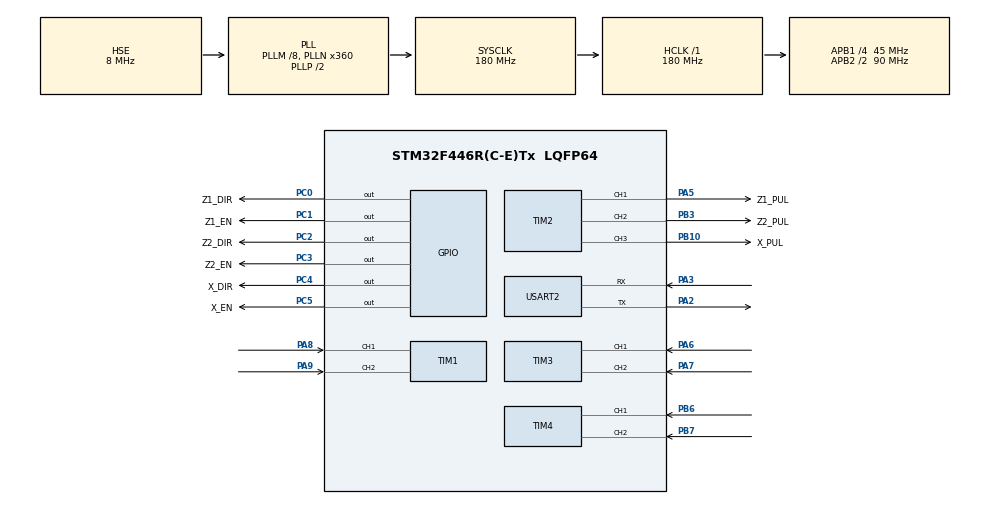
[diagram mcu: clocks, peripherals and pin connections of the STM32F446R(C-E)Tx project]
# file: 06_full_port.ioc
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Dma.Request0=USART2_RX
Dma.Request1=USART2_TX
Dma.USART2_RX.0.Direction=DMA_PERIPH_TO_MEMORY
Dma.USART2_RX.0.FIFOMode=DMA_FIFOMODE_DISABLE
Dma.USART2_RX.0.Instance=DMA1_Stream5
Dma.USART2_RX.0.MemDataAlignment=DMA_MDATAALIGN_BYTE
Dma.USART2_RX.0.MemInc=DMA_MINC_ENABLE
Dma.USART2_RX.0.Mode=DMA_CIRCULAR
Dma.USART2_RX.0.PeriphDataAlignment=DMA_PDATAALIGN_BYTE
Dma.USART2_RX.0.PeriphInc=DMA_PINC_DISABLE
Dma.USART2_RX.0.Priority=DMA_PRIORITY_LOW
Dma.USART2_TX.1.Direction=DMA_MEMORY_TO_PERIPH
Dma.USART2_TX.1.FIFOMode=DMA_FIFOMODE_DISABLE
Dma.USART2_TX.1.Instance=DMA1_Stream6
Dma.USART2_TX.1.MemDataAlignment=DMA_MDATAALIGN_BYTE
Dma.USART2_TX.1.MemInc=DMA_MINC_ENABLE
Dma.USART2_TX.1.Mode=DMA_NORMAL
Dma.USART2_TX.1.PeriphDataAlignment=DMA_PDATAALIGN_BYTE
Dma.USART2_TX.1.PeriphInc=DMA_PINC_DISABLE
Dma.USART2_TX.1.Priority=DMA_PRIORITY_LOW
Mcu.Family=STM32F4
Mcu.Name=STM32F446R(C-E)Tx
Mcu.Package=LQFP64
NVIC.DMA1_Stream5_IRQn=true\:0\:0\:false\:false\:true\:false\:true\:true
NVIC.DMA1_Stream6_IRQn=true\:0\:0\:false\:false\:true\:false\:true\:true
NVIC.PriorityGroup=NVIC_PRIORITYGROUP_0
NVIC.TIM2_IRQn=true\:0\:0\:false\:false\:true\:true\:true\:true
NVIC.TIM6_DAC_IRQn=true\:0\:0\:false\:false\:true\:true\:true\:true
NVIC.USART2_IRQn=true\:0\:0\:false\:false\:true\:true\:true\:true
PA2.Mode=Asynchronous
PA2.Signal=USART2_TX
PA3.Mode=Asynchronous
PA3.Signal=USART2_RX
PA5.GPIO_Label=Z1_PUL
PA5.Signal=S_TIM2_CH1_ETR
PA6.Signal=S_TIM3_CH1
PA7.Signal=S_TIM3_CH2
PA8.Signal=S_TIM1_CH1
PA9.Signal=S_TIM1_CH2
PB10.GPIO_Label=X_PUL
PB10.Signal=S_TIM2_CH3
PB3.GPIO_Label=Z2_PUL
PB3.Signal=S_TIM2_CH2
PB6.Signal=S_TIM4_CH1
PB7.Signal=S_TIM4_CH2
PC0.GPIO_Label=Z1_DIR
PC0.Signal=GPIO_Output
PC1.GPIO_Label=Z1_EN
PC1.PinState=GPIO_PIN_SET
PC1.Signal=GPIO_Output
PC2.GPIO_Label=Z2_DIR
PC2.Signal=GPIO_Output
PC3.GPIO_Label=Z2_EN
PC3.PinState=GPIO_PIN_SET
PC3.Signal=GPIO_Output
PC4.GPIO_Label=X_DIR
PC4.Signal=GPIO_Output
PC5.GPIO_Label=X_EN
PC5.PinState=GPIO_PIN_SET
PC5.Signal=GPIO_Output
PH0-OSC_IN.Mode=HSE-External-Clock-Source
PH0-OSC_IN.Signal=RCC_OSC_IN
PH1-OSC_OUT.Mode=HSE-External-Clock-Source
PH1-OSC_OUT.Signal=RCC_OSC_OUT
ProjectManager.HeapSize=0x200
ProjectManager.StackSize=0x400
ProjectManager.TargetToolchain=CMake
RCC.AHBFreq_Value=180000000
RCC.APB1CLKDivider=RCC_HCLK_DIV4
RCC.APB1Freq_Value=45000000
RCC.APB1TimFreq_Value=90000000
RCC.APB2CLKDivider=RCC_HCLK_DIV2
RCC.APB2Freq_Value=90000000
RCC.APB2TimFreq_Value=180000000
RCC.CortexFreq_Value=180000000
RCC.FLatency-AdvancedSettings=FLASH_LATENCY_5
RCC.HCLKFreq_Value=180000000
RCC.HSE_VALUE=8000000
RCC.HSI_VALUE=16000000
RCC.LSE_VALUE=32768
RCC.PLLM=8
RCC.PLLN=360
RCC.PLLSourceVirtual=RCC_PLLSOURCE_HSE
RCC.SYSCLKFreq_VALUE=180000000
RCC.SYSCLKSource=RCC_SYSCLKSOURCE_PLLCLK
RCC.USBFreq_Value=180000000
RCC.VCOOutputFreq_Value=360000000
SH.S_TIM1_CH1.0=TIM1_CH1,Encoder_Interface
SH.S_TIM1_CH2.0=TIM1_CH2,Encoder_Interface
SH.S_TIM2_CH1_ETR.0=TIM2_CH1,Output Compare1 CH1
SH.S_TIM2_CH2.0=TIM2_CH2,Output Compare2 CH2
SH.S_TIM2_CH3.0=TIM2_CH3,Output Compare3 CH3
SH.S_TIM3_CH1.0=TIM3_CH1,Encoder_Interface
SH.S_TIM3_CH2.0=TIM3_CH2,Encoder_Interface
SH.S_TIM4_CH1.0=TIM4_CH1,Encoder_Interface
SH.S_TIM4_CH2.0=TIM4_CH2,Encoder_Interface
TIM1.EncoderMode=TIM_ENCODERMODE_TI12
TIM2.Channel-Output\ Compare1\ CH1=TIM_CHANNEL_1
TIM2.Channel-Output\ Compare2\ CH2=TIM_CHANNEL_2
TIM2.Channel-Output\ Compare3\ CH3=TIM_CHANNEL_3
TIM2.OCMode_1=TIM_OCMODE_TOGGLE
TIM2.OCMode_2=TIM_OCMODE_TOGGLE
TIM2.OCMode_3=TIM_OCMODE_TOGGLE
TIM3.EncoderMode=TIM_ENCODERMODE_TI12
TIM4.EncoderMode=TIM_ENCODERMODE_TI12
TIM6.Period=99
TIM6.Prescaler=89
USART2.VirtualMode=VM_ASYNC
VP_TIM2_VS_ClockSourceINT.Mode=Internal
VP_TIM6_VS_ClockSourceINT.Mode=Enable_Timer
board=NUCLEO-F446RE

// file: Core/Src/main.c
/* USER CODE BEGIN Header */
/**
  ******************************************************************************
  * @file           : main.c
  * @brief          : Main program body
  ******************************************************************************
  * @attention
  *
  * Copyright (c) 2026 STMicroelectronics.
  * All rights reserved.
  *
  * This software is licensed under terms that can be found in the LICENSE file
  * in the root directory of this software component.
  * If no LICENSE file comes with this software, it is provided AS-IS.
  *
  ******************************************************************************
  */
/* USER CODE END Header */
#include "main.h"

/* USER CODE BEGIN Includes */
#include <string.h>
#include <stdlib.h>
#include <stdio.h>
#include <math.h>
#include <stdbool.h>
/* USER CODE END Includes */

TIM_HandleTypeDef htim1;
TIM_HandleTypeDef htim2;
TIM_HandleTypeDef htim3;
TIM_HandleTypeDef htim4;
TIM_HandleTypeDef htim6;

UART_HandleTypeDef huart2;
DMA_HandleTypeDef hdma_usart2_rx;
DMA_HandleTypeDef hdma_usart2_tx;

/* USER CODE BEGIN PV */
// ==================== DMA RX BUFFER ====================
#define RX_BUF_SIZE 128
uint8_t rxBuf[RX_BUF_SIZE];
uint32_t rxReadPos = 0;

// ==================== CONSTANTS ====================
#define STEPS_PER_MM     800
#define CPR              4000
#define STOP_DEADBAND    5.0f
#define MAX_SPEED        800.0f
#define ACCEL            2000.0f
#define DT               0.0001f

#define Kp               0.55f
#define Kd               0.14f
#define Kp_slave         0.7f

// ==================== MODE ====================
typedef enum { MODE_IDLE, MODE_X, MODE_Z } Mode;
volatile Mode currentMode = MODE_IDLE;

// ==================== Z AXIS ====================
volatile int32_t z1Enc = 0, z2Enc = 0;
uint16_t z1Last = 0, z2Last = 0;

float targetStepsZ   = 0.0f;
float z1CmdPos       = 0.0f, z2CmdPos = 0.0f;
float z1LastErr      = 0.0f, z2LastErr = 0.0f;
volatile bool runningZ         = false;
volatile bool justStartedMoveZ = false;
volatile int  settleGuardZ     = 0;

// ==================== X AXIS ====================
volatile int32_t xEnc = 0;
uint16_t xLast = 0;

float targetStepsX   = 0.0f;
float xCmdPos        = 0.0f;
float xLastErr       = 0.0f;
volatile bool runningX         = false;
volatile bool justStartedMoveX = false;
volatile int  settleGuardX     = 0;

// ==================== STEP GENERATION ====================
volatile uint32_t z1StepInterval = 0;
volatile uint32_t z2StepInterval = 0;
volatile uint32_t xStepInterval  = 0;

// ==================== QUEUE ====================
#define MAX_QUEUE 20
char cmdQueue[MAX_QUEUE][32];
int queueHead = 0, queueTail = 0;
char originalQueue[MAX_QUEUE][32];
int originalSize = 0;
volatile bool sequenceRunning  = false;
int sequenceRepeatLeft = 0;

// ==================== DEBUG ====================
volatile bool debugPrintZ = false;
volatile bool debugPrintX = false;

typedef struct { float actual, target, err, vel; } DbgX;
typedef struct { float z1, z2, target, err1, followErr, vel1, vel2; } DbgZ;

volatile DbgX dbgX;
volatile DbgZ dbgZ;
/* USER CODE END PV */

void SystemClock_Config(void);
static void MX_GPIO_Init(void);
static void MX_DMA_Init(void);
static void MX_USART2_UART_Init(void);
static void MX_TIM1_Init(void);
static void MX_TIM2_Init(void);
static void MX_TIM3_Init(void);
static void MX_TIM4_Init(void);
static void MX_TIM6_Init(void);
/* USER CODE BEGIN PFP */
void enableZ(bool en);
void enableX(bool en);
void updateEncoders(void);
void runZ_ISR(void);
void runX_ISR(void);
void setStepVelocity(TIM_HandleTypeDef *htim, uint32_t channel,
                     GPIO_TypeDef *dirPort, uint16_t dirPin,
                     float vel, volatile uint32_t *interval);
void handleSerial(void);
void executeCommand(const char *cmd);
void runSequence(void);
bool queueEmpty(void);
bool queueFull(void);
void enqueue(const char *cmd);
const char *dequeue(void);
void reloadQueue(void);
void uartPrint(const char *s);
/* USER CODE END PFP */

int main(void)
{

  /* MCU Configuration--------------------------------------------------------*/

  /* Reset of all peripherals, Initializes the Flash interface and the Systick. */
  HAL_Init();

  /* Configure the system clock */
  SystemClock_Config();

  /* Initialize all configured peripherals */
  MX_GPIO_Init();
  MX_DMA_Init();
  MX_USART2_UART_Init();
  MX_TIM1_Init();
  MX_TIM2_Init();
  MX_TIM3_Init();
  MX_TIM4_Init();
  MX_TIM6_Init();
  /* USER CODE BEGIN 2 */
  // Start encoders
  HAL_TIM_Encoder_Start(&htim1, TIM_CHANNEL_ALL);  // Z1
  HAL_TIM_Encoder_Start(&htim3, TIM_CHANNEL_ALL);  // Z2
  HAL_TIM_Encoder_Start(&htim4, TIM_CHANNEL_ALL);  // X

  // Start step output compare with interrupt
  HAL_TIM_OC_Start_IT(&htim2, TIM_CHANNEL_1);  // Z1 STEP
  HAL_TIM_OC_Start_IT(&htim2, TIM_CHANNEL_2);  // Z2 STEP
  HAL_TIM_OC_Start_IT(&htim2, TIM_CHANNEL_3);  // X  STEP

  // Start control loop timer with interrupt
  HAL_TIM_Base_Start_IT(&htim6);

  // Arm UART DMA receive
  HAL_UART_Receive_DMA(&huart2, rxBuf, RX_BUF_SIZE);
  /* USER CODE END 2 */

  /* Infinite loop */
  while (1)
  {

    /* USER CODE BEGIN 3 */
    handleSerial();
    runSequence();

    if (debugPrintZ)
    {
        debugPrintZ = false;
        char buf[120];
        snprintf(buf, sizeof(buf),
            "[Z] z1:%.2f z2:%.2f tgt:%.2f err:%.2f fErr:%.2f v1:%.2f v2:%.2f skew:%.4f\r\n",
            (double)dbgZ.z1, (double)dbgZ.z2, (double)dbgZ.target,
            (double)dbgZ.err1, (double)dbgZ.followErr,
            (double)dbgZ.vel1, (double)dbgZ.vel2,
            (double)((dbgZ.z1 - dbgZ.z2) / STEPS_PER_MM));
        uartPrint(buf);
    }

    if (debugPrintX)
    {
        debugPrintX = false;
        char buf[80];
        snprintf(buf, sizeof(buf),
            "[X] pos:%.2f tgt:%.2f err:%.2f vel:%.2f\r\n",
            (double)dbgX.actual, (double)dbgX.target,
            (double)dbgX.err,    (double)dbgX.vel);
        uartPrint(buf);
    }
  }
  /* USER CODE END 3 */
}

void SystemClock_Config(void)
{
  RCC_OscInitTypeDef RCC_OscInitStruct = {0};
  RCC_ClkInitTypeDef RCC_ClkInitStruct = {0};

  /** Configure the main internal regulator output voltage
  */
  __HAL_RCC_PWR_CLK_ENABLE();
  __HAL_PWR_VOLTAGESCALING_CONFIG(PWR_REGULATOR_VOLTAGE_SCALE1);

  /** Initializes the RCC Oscillators according to the specified parameters
  * in the RCC_OscInitTypeDef structure.
  */
  RCC_OscInitStruct.OscillatorType = RCC_OSCILLATORTYPE_HSE;
  RCC_OscInitStruct.HSEState = RCC_HSE_BYPASS;
  RCC_OscInitStruct.PLL.PLLState = RCC_PLL_ON;
  RCC_OscInitStruct.PLL.PLLSource = RCC_PLLSOURCE_HSE;
  RCC_OscInitStruct.PLL.PLLM = 8;
  RCC_OscInitStruct.PLL.PLLN = 360;
  RCC_OscInitStruct.PLL.PLLP = RCC_PLLP_DIV2;
  RCC_OscInitStruct.PLL.PLLQ = 2;
  RCC_OscInitStruct.PLL.PLLR = 2;
  if (HAL_RCC_OscConfig(&RCC_OscInitStruct) != HAL_OK)
  {
    Error_Handler();
  }

  /** Activate the Over-Drive mode
  */
  if (HAL_PWREx_EnableOverDrive() != HAL_OK)
  {
    Error_Handler();
  }

  /** Initializes the CPU, AHB and APB buses clocks
  */
  RCC_ClkInitStruct.ClockType = RCC_CLOCKTYPE_HCLK|RCC_CLOCKTYPE_SYSCLK
                              |RCC_CLOCKTYPE_PCLK1|RCC_CLOCKTYPE_PCLK2;
  RCC_ClkInitStruct.SYSCLKSource = RCC_SYSCLKSOURCE_PLLCLK;
  RCC_ClkInitStruct.AHBCLKDivider = RCC_SYSCLK_DIV1;
  RCC_ClkInitStruct.APB1CLKDivider = RCC_HCLK_DIV4;
  RCC_ClkInitStruct.APB2CLKDivider = RCC_HCLK_DIV2;

  if (HAL_RCC_ClockConfig(&RCC_ClkInitStruct, FLASH_LATENCY_5) != HAL_OK)
  {
    Error_Handler();
  }
}

static void MX_TIM1_Init(void)
{

  TIM_Encoder_InitTypeDef sConfig = {0};
  TIM_MasterConfigTypeDef sMasterConfig = {0};

  htim1.Instance = TIM1;
  htim1.Init.Prescaler = 0;
  htim1.Init.CounterMode = TIM_COUNTERMODE_UP;
  htim1.Init.Period = 65535;
  htim1.Init.ClockDivision = TIM_CLOCKDIVISION_DIV1;
  htim1.Init.RepetitionCounter = 0;
  htim1.Init.AutoReloadPreload = TIM_AUTORELOAD_PRELOAD_DISABLE;
  sConfig.EncoderMode = TIM_ENCODERMODE_TI12;
  sConfig.IC1Polarity = TIM_ICPOLARITY_RISING;
  sConfig.IC1Selection = TIM_ICSELECTION_DIRECTTI;
  sConfig.IC1Prescaler = TIM_ICPSC_DIV1;
  sConfig.IC1Filter = 0;
  sConfig.IC2Polarity = TIM_ICPOLARITY_RISING;
  sConfig.IC2Selection = TIM_ICSELECTION_DIRECTTI;
  sConfig.IC2Prescaler = TIM_ICPSC_DIV1;
  sConfig.IC2Filter = 0;
  if (HAL_TIM_Encoder_Init(&htim1, &sConfig) != HAL_OK)
  {
    Error_Handler();
  }
  sMasterConfig.MasterOutputTrigger = TIM_TRGO_RESET;
  sMasterConfig.MasterSlaveMode = TIM_MASTERSLAVEMODE_DISABLE;
  if (HAL_TIMEx_MasterConfigSynchronization(&htim1, &sMasterConfig) != HAL_OK)
  {
    Error_Handler();
  }

}

static void MX_TIM2_Init(void)
{

  TIM_ClockConfigTypeDef sClockSourceConfig = {0};
  TIM_MasterConfigTypeDef sMasterConfig = {0};
  TIM_OC_InitTypeDef sConfigOC = {0};

  htim2.Instance = TIM2;
  htim2.Init.Prescaler = 0;
  htim2.Init.CounterMode = TIM_COUNTERMODE_UP;
  htim2.Init.Period = 4294967295;
  htim2.Init.ClockDivision = TIM_CLOCKDIVISION_DIV1;
  htim2.Init.AutoReloadPreload = TIM_AUTORELOAD_PRELOAD_DISABLE;
  if (HAL_TIM_Base_Init(&htim2) != HAL_OK)
  {
    Error_Handler();
  }
  sClockSourceConfig.ClockSource = TIM_CLOCKSOURCE_INTERNAL;
  if (HAL_TIM_ConfigClockSource(&htim2, &sClockSourceConfig) != HAL_OK)
  {
    Error_Handler();
  }
  if (HAL_TIM_OC_Init(&htim2) != HAL_OK)
  {
    Error_Handler();
  }
  sMasterConfig.MasterOutputTrigger = TIM_TRGO_RESET;
  sMasterConfig.MasterSlaveMode = TIM_MASTERSLAVEMODE_DISABLE;
  if (HAL_TIMEx_MasterConfigSynchronization(&htim2, &sMasterConfig) != HAL_OK)
  {
    Error_Handler();
  }
  sConfigOC.OCMode = TIM_OCMODE_TOGGLE;
  sConfigOC.Pulse = 0;
  sConfigOC.OCPolarity = TIM_OCPOLARITY_HIGH;
  sConfigOC.OCFastMode = TIM_OCFAST_DISABLE;
  if (HAL_TIM_OC_ConfigChannel(&htim2, &sConfigOC, TIM_CHANNEL_1) != HAL_OK)
  {
    Error_Handler();
  }
  if (HAL_TIM_OC_ConfigChannel(&htim2, &sConfigOC, TIM_CHANNEL_2) != HAL_OK)
  {
    Error_Handler();
  }
  if (HAL_TIM_OC_ConfigChannel(&htim2, &sConfigOC, TIM_CHANNEL_3) != HAL_OK)
  {
    Error_Handler();
  }
  HAL_TIM_MspPostInit(&htim2);

}

static void MX_TIM3_Init(void)
{

  TIM_Encoder_InitTypeDef sConfig = {0};
  TIM_MasterConfigTypeDef sMasterConfig = {0};

  htim3.Instance = TIM3;
  htim3.Init.Prescaler = 0;
  htim3.Init.CounterMode = TIM_COUNTERMODE_UP;
  htim3.Init.Period = 65535;
  htim3.Init.ClockDivision = TIM_CLOCKDIVISION_DIV1;
  htim3.Init.AutoReloadPreload = TIM_AUTORELOAD_PRELOAD_DISABLE;
  sConfig.EncoderMode = TIM_ENCODERMODE_TI12;
  sConfig.IC1Polarity = TIM_ICPOLARITY_RISING;
  sConfig.IC1Selection = TIM_ICSELECTION_DIRECTTI;
  sConfig.IC1Prescaler = TIM_ICPSC_DIV1;
  sConfig.IC1Filter = 0;
  sConfig.IC2Polarity = TIM_ICPOLARITY_RISING;
  sConfig.IC2Selection = TIM_ICSELECTION_DIRECTTI;
  sConfig.IC2Prescaler = TIM_ICPSC_DIV1;
  sConfig.IC2Filter = 0;
  if (HAL_TIM_Encoder_Init(&htim3, &sConfig) != HAL_OK)
  {
    Error_Handler();
  }
  sMasterConfig.MasterOutputTrigger = TIM_TRGO_RESET;
  sMasterConfig.MasterSlaveMode = TIM_MASTERSLAVEMODE_DISABLE;
  if (HAL_TIMEx_MasterConfigSynchronization(&htim3, &sMasterConfig) != HAL_OK)
  {
    Error_Handler();
  }

}

static void MX_TIM4_Init(void)
{

  TIM_Encoder_InitTypeDef sConfig = {0};
  TIM_MasterConfigTypeDef sMasterConfig = {0};

  htim4.Instance = TIM4;
  htim4.Init.Prescaler = 0;
  htim4.Init.CounterMode = TIM_COUNTERMODE_UP;
  htim4.Init.Period = 65535;
  htim4.Init.ClockDivision = TIM_CLOCKDIVISION_DIV1;
  htim4.Init.AutoReloadPreload = TIM_AUTORELOAD_PRELOAD_DISABLE;
  sConfig.EncoderMode = TIM_ENCODERMODE_TI12;
  sConfig.IC1Polarity = TIM_ICPOLARITY_RISING;
  sConfig.IC1Selection = TIM_ICSELECTION_DIRECTTI;
  sConfig.IC1Prescaler = TIM_ICPSC_DIV1;
  sConfig.IC1Filter = 0;
  sConfig.IC2Polarity = TIM_ICPOLARITY_RISING;
  sConfig.IC2Selection = TIM_ICSELECTION_DIRECTTI;
  sConfig.IC2Prescaler = TIM_ICPSC_DIV1;
  sConfig.IC2Filter = 0;
  if (HAL_TIM_Encoder_Init(&htim4, &sConfig) != HAL_OK)
  {
    Error_Handler();
  }
  sMasterConfig.MasterOutputTrigger = TIM_TRGO_RESET;
  sMasterConfig.MasterSlaveMode = TIM_MASTERSLAVEMODE_DISABLE;
  if (HAL_TIMEx_MasterConfigSynchronization(&htim4, &sMasterConfig) != HAL_OK)
  {
    Error_Handler();
  }

}

static void MX_TIM6_Init(void)
{

  TIM_MasterConfigTypeDef sMasterConfig = {0};

  htim6.Instance = TIM6;
  htim6.Init.Prescaler = 89;
  htim6.Init.CounterMode = TIM_COUNTERMODE_UP;
  htim6.Init.Period = 99;
  htim6.Init.AutoReloadPreload = TIM_AUTORELOAD_PRELOAD_DISABLE;
  if (HAL_TIM_Base_Init(&htim6) != HAL_OK)
  {
    Error_Handler();
  }
  sMasterConfig.MasterOutputTrigger = TIM_TRGO_RESET;
  sMasterConfig.MasterSlaveMode = TIM_MASTERSLAVEMODE_DISABLE;
  if (HAL_TIMEx_MasterConfigSynchronization(&htim6, &sMasterConfig) != HAL_OK)
  {
    Error_Handler();
  }

}

static void MX_USART2_UART_Init(void)
{

  huart2.Instance = USART2;
  huart2.Init.BaudRate = 115200;
  huart2.Init.WordLength = UART_WORDLENGTH_8B;
  huart2.Init.StopBits = UART_STOPBITS_1;
  huart2.Init.Parity = UART_PARITY_NONE;
  huart2.Init.Mode = UART_MODE_TX_RX;
  huart2.Init.HwFlowCtl = UART_HWCONTROL_NONE;
  huart2.Init.OverSampling = UART_OVERSAMPLING_16;
  if (HAL_UART_Init(&huart2) != HAL_OK)
  {
    Error_Handler();
  }

}

static void MX_DMA_Init(void)
{

  /* DMA controller clock enable */
  __HAL_RCC_DMA1_CLK_ENABLE();

  /* DMA interrupt init */
  /* DMA1_Stream5_IRQn interrupt configuration */
  HAL_NVIC_SetPriority(DMA1_Stream5_IRQn, 0, 0);
  HAL_NVIC_EnableIRQ(DMA1_Stream5_IRQn);
  /* DMA1_Stream6_IRQn interrupt configuration */
  HAL_NVIC_SetPriority(DMA1_Stream6_IRQn, 0, 0);
  HAL_NVIC_EnableIRQ(DMA1_Stream6_IRQn);

}

static void MX_GPIO_Init(void)
{
  GPIO_InitTypeDef GPIO_InitStruct = {0};

  /* GPIO Ports Clock Enable */
  __HAL_RCC_GPIOH_CLK_ENABLE();
  __HAL_RCC_GPIOC_CLK_ENABLE();
  __HAL_RCC_GPIOA_CLK_ENABLE();
  __HAL_RCC_GPIOB_CLK_ENABLE();

  /*Configure GPIO pin Output Level */
  HAL_GPIO_WritePin(GPIOC, Z1_DIR_Pin|Z2_DIR_Pin|X_DIR_Pin, GPIO_PIN_RESET);

  /*Configure GPIO pin Output Level */
  HAL_GPIO_WritePin(GPIOC, Z1_EN_Pin|Z2_EN_Pin|X_EN_Pin, GPIO_PIN_SET);

  /*Configure GPIO pins : Z1_DIR_Pin Z1_EN_Pin Z2_DIR_Pin Z2_EN_Pin
                           X_DIR_Pin X_EN_Pin */
  GPIO_InitStruct.Pin = Z1_DIR_Pin|Z1_EN_Pin|Z2_DIR_Pin|Z2_EN_Pin
                          |X_DIR_Pin|X_EN_Pin;
  GPIO_InitStruct.Mode = GPIO_MODE_OUTPUT_PP;
  GPIO_InitStruct.Pull = GPIO_NOPULL;
  GPIO_InitStruct.Speed = GPIO_SPEED_FREQ_LOW;
  HAL_GPIO_Init(GPIOC, &GPIO_InitStruct);

}

/* USER CODE BEGIN 4 */
void uartPrint(const char *s)
{
    HAL_UART_Transmit(&huart2, (uint8_t*)"\r\n", 2, 10);
    HAL_UART_Transmit(&huart2, (uint8_t*)s, strlen(s), 10);
}

void enableZ(bool en)
{
    HAL_GPIO_WritePin(Z1_EN_GPIO_Port, Z1_EN_Pin,
                      en ? GPIO_PIN_RESET : GPIO_PIN_SET);
    HAL_GPIO_WritePin(Z2_EN_GPIO_Port, Z2_EN_Pin,
                      en ? GPIO_PIN_RESET : GPIO_PIN_SET);
}

void enableX(bool en)
{
    HAL_GPIO_WritePin(X_EN_GPIO_Port, X_EN_Pin,
                      en ? GPIO_PIN_RESET : GPIO_PIN_SET);
}

void updateEncoders(void)
{
    uint16_t c1 = (uint16_t)__HAL_TIM_GET_COUNTER(&htim1);
    uint16_t c2 = (uint16_t)__HAL_TIM_GET_COUNTER(&htim3);
    uint16_t cx = (uint16_t)__HAL_TIM_GET_COUNTER(&htim4);

    int32_t d1 = (int32_t)(int16_t)(c1 - z1Last);
    int32_t d2 = (int32_t)(int16_t)(c2 - z2Last);
    int32_t dx = (int32_t)(int16_t)(cx - xLast);

    if (d1 > -1000 && d1 < 1000) z1Enc += d1;
    if (d2 > -1000 && d2 < 1000) z2Enc += d2;
    if (dx > -1000 && dx < 1000) xEnc  += dx;

    z1Last = c1;
    z2Last = c2;
    xLast  = cx;
}

void setStepVelocity(TIM_HandleTypeDef *htim, uint32_t channel,
                     GPIO_TypeDef *dirPort, uint16_t dirPin,
                     float vel, volatile uint32_t *interval)
{
    if (vel >= 0)
        HAL_GPIO_WritePin(dirPort, dirPin, GPIO_PIN_SET);
    else
        HAL_GPIO_WritePin(dirPort, dirPin, GPIO_PIN_RESET);

    float absVel = vel < 0 ? -vel : vel;

    if (absVel < 1.0f)
    {
        *interval = 0xFFFFFFFF;
        return;
    }

    uint32_t ticks = (uint32_t)(90000000.0f / absVel);
    *interval = ticks;

    uint32_t current = __HAL_TIM_GET_COMPARE(htim, channel);
    __HAL_TIM_SET_COMPARE(htim, channel, current + ticks);
}

void runZ_ISR(void)
{
    if (!runningZ || currentMode != MODE_Z) return;

    const float stepPerEnc = (float)STEPS_PER_MM / (float)CPR;

    float z1Actual = z1Enc * stepPerEnc;
    float z2Actual = z2Enc * stepPerEnc;
    float err1     = targetStepsZ - z1Actual;

    float vff = sqrtf(2.0f * ACCEL * (err1 < 0 ? -err1 : err1));
    if (err1 < 0) vff = -vff;

    float d1  = (err1 - z1LastErr) / DT;
    z1LastErr = err1;

    float vel1 = vff + Kp * err1 + Kd * d1;
    if (vel1 >  MAX_SPEED) vel1 =  MAX_SPEED;
    if (vel1 < -MAX_SPEED) vel1 = -MAX_SPEED;

    float followErr = z1Actual - z2Actual;
    float d2        = (followErr - z2LastErr) / DT;
    z2LastErr       = followErr;

    float vel2 = vel1 + Kp_slave * followErr + Kd * d2;
    if (vel2 >  MAX_SPEED) vel2 =  MAX_SPEED;
    if (vel2 < -MAX_SPEED) vel2 = -MAX_SPEED;

    z1CmdPos += vel1 * DT;
    z2CmdPos += vel2 * DT;

    setStepVelocity(&htim2, TIM_CHANNEL_1,
                    Z1_DIR_GPIO_Port, Z1_DIR_Pin, vel1, &z1StepInterval);
    setStepVelocity(&htim2, TIM_CHANNEL_2,
                    Z2_DIR_GPIO_Port, Z2_DIR_Pin, vel2, &z2StepInterval);

    static uint32_t dbgCnt = 0;
    if (++dbgCnt >= 1000) {
        dbgCnt = 0;
        dbgZ.z1 = z1Actual; dbgZ.z2 = z2Actual;
        dbgZ.target = targetStepsZ;
        dbgZ.err1 = err1; dbgZ.followErr = followErr;
        dbgZ.vel1 = vel1; dbgZ.vel2 = vel2;
        debugPrintZ = true;
    }

    if (justStartedMoveZ) {
        if (++settleGuardZ >= 100) justStartedMoveZ = false;
        return;
    }

    if (err1 > -STOP_DEADBAND && err1 < STOP_DEADBAND &&
        followErr > -STOP_DEADBAND && followErr < STOP_DEADBAND &&
        vel1 > -5.0f && vel1 < 5.0f)
    {
        setStepVelocity(&htim2, TIM_CHANNEL_1,
                        Z1_DIR_GPIO_Port, Z1_DIR_Pin, 0, &z1StepInterval);
        setStepVelocity(&htim2, TIM_CHANNEL_2,
                        Z2_DIR_GPIO_Port, Z2_DIR_Pin, 0, &z2StepInterval);
        runningZ    = false;
        enableZ(false);
        currentMode = MODE_IDLE;
        uartPrint("Z OK\r\n");
    }
}

void runX_ISR(void)
{
    if (!runningX || currentMode != MODE_X) return;

    const float stepPerEnc = (float)STEPS_PER_MM / (float)CPR;

    float xActual = xEnc * stepPerEnc;
    float err     = targetStepsX - xActual;

    float vff = sqrtf(2.0f * ACCEL * (err < 0 ? -err : err));
    if (err < 0) vff = -vff;

    float d  = (err - xLastErr) / DT;
    xLastErr = err;

    float vel = vff + Kp * err + Kd * d;
    if (vel >  MAX_SPEED) vel =  MAX_SPEED;
    if (vel < -MAX_SPEED) vel = -MAX_SPEED;

    xCmdPos += vel * DT;

    setStepVelocity(&htim2, TIM_CHANNEL_3,
                    X_DIR_GPIO_Port, X_DIR_Pin, vel, &xStepInterval);

    static uint32_t dbgCnt = 0;
    if (++dbgCnt >= 1000) {
        dbgCnt = 0;
        dbgX.actual = xActual;
        dbgX.target = targetStepsX;
        dbgX.err    = err;
        dbgX.vel    = vel;
        debugPrintX = true;
    }

    if (justStartedMoveX) {
        if (++settleGuardX >= 100) justStartedMoveX = false;
        return;
    }

    if (err > -STOP_DEADBAND && err < STOP_DEADBAND &&
        vel > -5.0f && vel < 5.0f)
    {
        setStepVelocity(&htim2, TIM_CHANNEL_3,
                        X_DIR_GPIO_Port, X_DIR_Pin, 0, &xStepInterval);
        runningX    = false;
        enableX(false);
        currentMode = MODE_IDLE;
        uartPrint("X OK\r\n");
    }
}

void HAL_TIM_PeriodElapsedCallback(TIM_HandleTypeDef *htim)
{
    if (htim->Instance != TIM6) return;
    updateEncoders();
    runZ_ISR();
    runX_ISR();
}

void HAL_TIM_OC_DelayElapsedCallback(TIM_HandleTypeDef *htim)
{
    if (htim->Instance != TIM2) return;

    if (htim->Channel == HAL_TIM_ACTIVE_CHANNEL_1)
        __HAL_TIM_SET_COMPARE(&htim2, TIM_CHANNEL_1,
            __HAL_TIM_GET_COMPARE(&htim2, TIM_CHANNEL_1) + z1StepInterval);

    if (htim->Channel == HAL_TIM_ACTIVE_CHANNEL_2)
        __HAL_TIM_SET_COMPARE(&htim2, TIM_CHANNEL_2,
            __HAL_TIM_GET_COMPARE(&htim2, TIM_CHANNEL_2) + z2StepInterval);

    if (htim->Channel == HAL_TIM_ACTIVE_CHANNEL_3)
        __HAL_TIM_SET_COMPARE(&htim2, TIM_CHANNEL_3,
            __HAL_TIM_GET_COMPARE(&htim2, TIM_CHANNEL_3) + xStepInterval);
}

bool queueEmpty(void) { return queueHead == queueTail; }
bool queueFull(void)  { return ((queueTail + 1) % MAX_QUEUE) == queueHead; }

void enqueue(const char *cmd)
{
    if (queueFull()) { uartPrint("QUEUE FULL\r\n"); return; }
    strncpy(cmdQueue[queueTail], cmd, 31);
    queueTail = (queueTail + 1) % MAX_QUEUE;
}

const char *dequeue(void)
{
    if (queueEmpty()) return "";
    const char *cmd = cmdQueue[queueHead];
    queueHead = (queueHead + 1) % MAX_QUEUE;
    return cmd;
}

void reloadQueue(void)
{
    queueHead = queueTail = 0;
    for (int i = 0; i < originalSize; i++)
        enqueue(originalQueue[i]);
}

void executeCommand(const char *cmd)
{
    if (cmd[0] == 'Z')
    {
        enableX(false);
        runningX = false;
        enableZ(true);

        targetStepsZ = strtof(cmd + 1, NULL) * STEPS_PER_MM;

        const float sp = (float)STEPS_PER_MM / (float)CPR;
        z1CmdPos  = z1Enc * sp;
        z2CmdPos  = z2Enc * sp;
        z1LastErr = 0;
        z2LastErr = 0;

        runningZ         = true;
        justStartedMoveZ = true;
        settleGuardZ     = 0;
        currentMode      = MODE_Z;

        uartPrint("RUN Z\r\n");
    }
    else if (cmd[0] == 'G')
    {
        enableZ(false);
        runningZ = false;
        enableX(true);

        targetStepsX = strtof(cmd + 1, NULL) * STEPS_PER_MM;

        const float sp = (float)STEPS_PER_MM / (float)CPR;
        xCmdPos   = xEnc * sp;
        xLastErr  = 0;

        runningX         = true;
        justStartedMoveX = true;
        settleGuardX     = 0;
        currentMode      = MODE_X;

        uartPrint("RUN X\r\n");
    }
}

void runSequence(void)
{
    if (!sequenceRunning) return;
    if (currentMode != MODE_IDLE) return;

    if (!queueEmpty())
    {
        const char *next = dequeue();
        uartPrint("NEXT: ");
        uartPrint(next);
        uartPrint("\r\n");
        executeCommand(next);
    }
    else
    {
        sequenceRepeatLeft--;
        if (sequenceRepeatLeft > 0)
        {
            uartPrint("REPEAT\r\n");
            reloadQueue();
        }
        else
        {
            sequenceRunning = false;
            uartPrint("SEQUENCE DONE\r\n");
        }
    }
}

void handleSerial(void)
{
    uint32_t writePos = RX_BUF_SIZE -
                        __HAL_DMA_GET_COUNTER(huart2.hdmarx);

    while (rxReadPos != writePos)
    {
        uint8_t b = rxBuf[rxReadPos];
        rxReadPos = (rxReadPos + 1) % RX_BUF_SIZE;

        // Temporary debug — echo every raw byte back
        HAL_UART_Transmit(&huart2, &b, 1, 10);

        static char lineBuf[64];
        static uint32_t lineLen = 0;

        if (b == '\n' || b == '\r')
        {
            if (lineLen == 0) continue;
            lineBuf[lineLen] = '\0';
            lineLen = 0;

            if (strncmp(lineBuf, "SEQ", 3) == 0)
            {
                char *p = lineBuf + 3;
                while (*p == ' ') p++;

                char *lastComma = strrchr(p, ',');
                if (!lastComma) { uartPrint("INVALID SEQ\r\n"); continue; }

                int repeats = atoi(lastComma + 1);
                *lastComma = '\0';

                queueHead = queueTail = 0;
                originalSize = 0;

                char *tok = strtok(p, ",");
                while (tok)
                {
                    enqueue(tok);
                    strncpy(originalQueue[originalSize++], tok, 31);
                    tok = strtok(NULL, ",");
                }

                sequenceRepeatLeft = repeats;
                sequenceRunning    = true;
                uartPrint("SEQUENCE LOADED\r\n");
            }
            else if (lineBuf[0] == 'R')
            {
                enableZ(false);
                enableX(false);

                setStepVelocity(&htim2, TIM_CHANNEL_1,
                    Z1_DIR_GPIO_Port, Z1_DIR_Pin, 0, &z1StepInterval);
                setStepVelocity(&htim2, TIM_CHANNEL_2,
                    Z2_DIR_GPIO_Port, Z2_DIR_Pin, 0, &z2StepInterval);
                setStepVelocity(&htim2, TIM_CHANNEL_3,
                    X_DIR_GPIO_Port,  X_DIR_Pin,  0, &xStepInterval);

                runningX = runningZ = false;
                currentMode = MODE_IDLE;
                queueHead = queueTail = 0;
                originalSize = 0;
                sequenceRunning = false;
                uartPrint("RESET\r\n");
            }
            else if (strncmp(lineBuf, "STATUS", 6) == 0)
            {
                char buf[80];
                const float sp = (float)STEPS_PER_MM / (float)CPR;
                snprintf(buf, sizeof(buf),
                    "Z1=%.2f Z2=%.2f X=%.2f mode=%d\r\n",
                    (double)(z1Enc * sp / STEPS_PER_MM),
                    (double)(z2Enc * sp / STEPS_PER_MM),
                    (double)(xEnc  * sp / STEPS_PER_MM),
                    (int)currentMode);
                uartPrint(buf);
            }
            else
            {
                executeCommand(lineBuf);
            }
        }
        else
        {
            if (lineLen < 63)
                lineBuf[lineLen++] = (char)b;
        }
    }
}
/* USER CODE END 4 */

void Error_Handler(void)
{
  __disable_irq();
  while (1)
  {
  }
}
